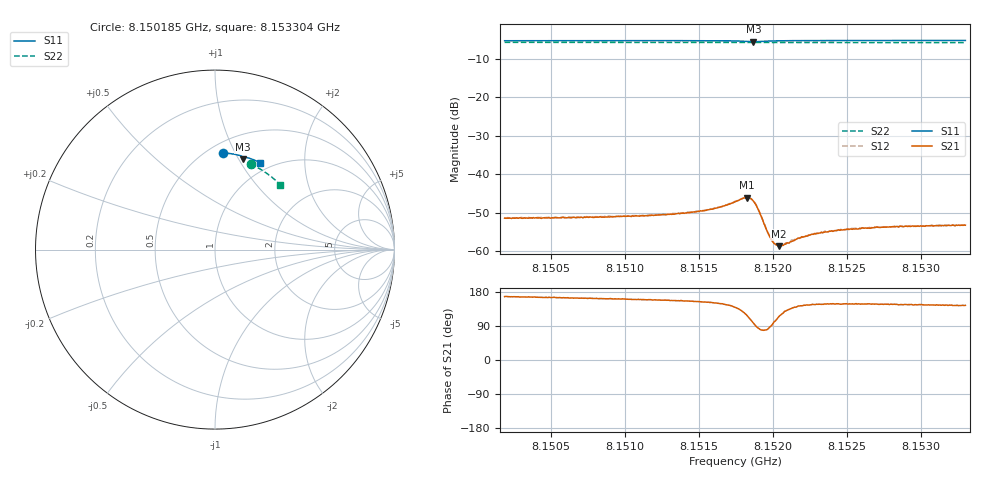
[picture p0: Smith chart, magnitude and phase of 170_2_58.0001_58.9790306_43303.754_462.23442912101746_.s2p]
#  HZ  S  RI  R  50.00
! Rohde & Schwarz Vector Network Analyzer
! Rohde-Schwarz,ZNB20-2Port,1311601062101988,3.16
! Created: UTC 3/21/2024, 12:57:53 AM
! freq[Hz]  re:S11  im:S11  re:S21  im:S21  re:S12  im:S12  re:S22  im:S22
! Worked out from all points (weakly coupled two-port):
!   401 points, 8.150185 GHz to 8.153304 GHz, reference 50 ohm
!   highest |S21| = -46.12 dB at 8.151822 GHz (marker M1); lowest = -58.7 dB at 8.15204 GHz (marker M2)
!   lowest |S11| = -5.6 dB at 8.151869 GHz (marker M3), VSWR 3.21, Z = 37.4 + j51.9 ohm
!   |S11| at or under -10 dB: nowhere
!   |S22| runs from -5.8 to -5.8 dB; largest |S21 - S12| = 0.00013
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8.1501846e9  0.0443 0.539  -0.00261 0.000587  -0.00264 0.000638  0.198 0.476
8.150707e9  0.0811 0.5355  -0.00264 0.000786  -0.00263 0.000826  0.2285 0.4614
8.1512295e9  0.1178 0.5294  -0.00274 0.00108  -0.00274 0.00116  0.2578 0.445
8.1514166e9  0.1313 0.5262  -0.00285 0.00128  -0.00285 0.00136  0.2682 0.4386
8.1515492e9  0.1414 0.5233  -0.003 0.00155  -0.00299 0.00163  0.2755 0.4339
8.1516583e9  0.1501 0.5195  -0.00323 0.00198  -0.00322 0.00209  0.2811 0.4299
8.1517441e9  0.1572 0.5144  -0.0033 0.00286  -0.0033 0.00294  0.2858 0.4266
8.1518221e9  0.1594 0.5051  -0.00241 0.00432  -0.0023 0.00439  0.2896 0.4234
8.1518455e9  0.1573 0.5026  -0.0015 0.00463  -0.00144 0.00467  0.2906 0.4226
8.1518689e9  0.1541 0.5021  -0.000552 0.00442  -0.000485 0.00446  0.2916 0.4218
8.1519001e9  0.1508 0.5049  0.00034 0.0035  0.000422 0.00353  0.2931 0.4209
8.1519702e9  0.1546 0.5128  0.000206 0.00166  0.000213 0.00166  0.2969 0.4184
8.1519858e9  0.1562 0.5135  2.42e-05 0.00146  3.98e-05 0.00145  0.2975 0.418
8.1520092e9  0.1587 0.5145  -0.000241 0.00123  -0.000179 0.00127  0.299 0.4171
8.1520404e9  0.1619 0.5149  -0.000475 0.00105  -0.000457 0.0011  0.3005 0.416
8.1520716e9  0.1649 0.515  -0.000665 0.000984  -0.00066 0.00103  0.3022 0.4148
8.1521418e9  0.1711 0.5143  -0.00102 0.0009  -0.00101 0.000929  0.3058 0.4119
8.1522666e9  0.181 0.5121  -0.00139 0.000903  -0.00134 0.00094  0.3121 0.4072
8.1523601e9  0.1877 0.5101  -0.00149 0.000955  -0.00153 0.000982  0.3168 0.4032
8.1525473e9  0.2007 0.5057  -0.00163 0.00104  -0.00166 0.00106  0.3261 0.3954
8.152789e9  0.2171 0.4995  -0.00171 0.00115  -0.00171 0.00113  0.3376 0.3854
8.1533036e9  0.2499 0.4848  -0.00176 0.00126  -0.00176 0.0013  0.3611 0.3625
